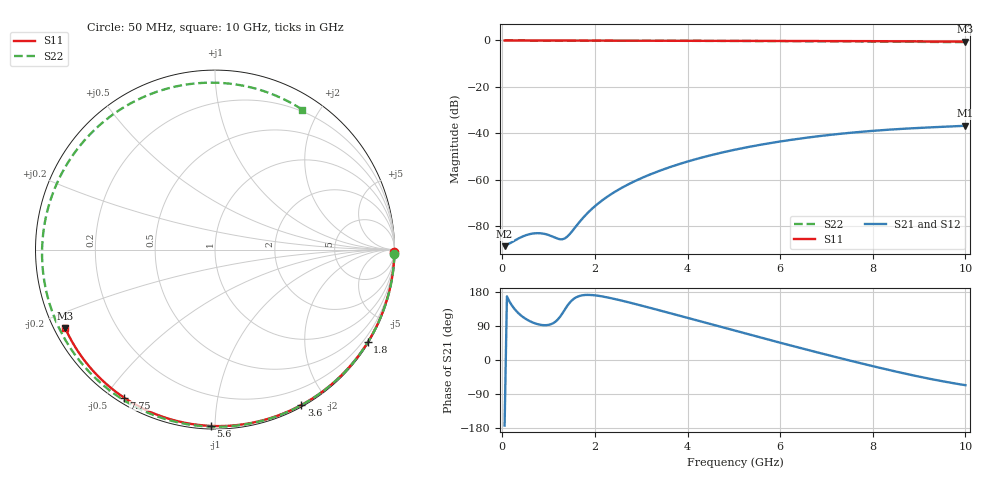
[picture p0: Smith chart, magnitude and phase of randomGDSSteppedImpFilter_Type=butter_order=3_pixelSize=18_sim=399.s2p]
! freq	dB(S11)	phase(S11)	dB(S12)	phase(S12)
!  dB(S21)	phase(S21)	dB(S22)	phase(S22)
!S-par simulation data
#  GHz  S  DB  R 50
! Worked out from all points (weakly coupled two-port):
!   200 points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, 50 MHz to 10 GHz, reference 50 ohm
!   highest |S21| = -36.73 dB at 10 GHz (marker M1); lowest = -88.6 dB at 50 MHz (marker M2)
!   lowest |S11| = -0.5 dB at 10 GHz (marker M3), VSWR 33.70, Z = 1.57 - j12.3 ohm
!   |S11| at or under -10 dB: nowhere
!   |S22| runs from -0.7 to 0.0 dB; largest |S21 - S12| = 0
!   S11 on the Smith chart (normalised r, x): 50 MHz: open; 1.8 GHz: 0.03, -3.57; 3.6 GHz: 0.02, -1.70; 5.6 GHz: 0.02, -0.98; 7.75 GHz: 0.02, -0.56; 10 GHz: 0.03, -0.25
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0.05  -0.00 -0.9  -88.56 -173.0  -88.56 -173.0  -0.00 -1.5
0.75  -0.02 -13.2  -82.96 95.1  -82.96 95.1  -0.02 -22.7
1.55  -0.03 -27.0  -81.05 162.0  -81.05 162.0  -0.06 -46.3
1.6  -0.04 -27.9  -79.78 165.7  -79.78 165.7  -0.06 -47.8
1.75  -0.04 -30.4  -76.21 171.1  -76.21 171.1  -0.07 -52.1
1.8  -0.04 -31.3  -75.13 171.7  -75.13 171.7  -0.07 -53.5
2.1  -0.05 -36.3  -69.71 169.0  -69.71 169.0  -0.08 -62.1
2.45  -0.05 -42.2  -64.93 160.4  -64.93 160.4  -0.09 -71.9
3.4  -0.08 -57.7  -56.08 130.9  -56.08 130.9  -0.13 -97.6
3.6  -0.08 -60.9  -54.66 124.3  -54.66 124.3  -0.13 -102.9
4.3  -0.10 -71.9  -50.45 101.3  -50.45 101.3  -0.17 -121.2
5.05  -0.13 -83.2  -46.92 76.5  -46.92 76.5  -0.21 -140.5
5.6  -0.15 -91.3  -44.81 58.5  -44.81 58.5  -0.25 -154.8
6.15  -0.18 -99.3  -43.04 40.8  -43.04 40.8  -0.29 -169.5
6.7  -0.21 -107.0  -41.54 23.4  -41.54 23.4  -0.34 175.2
7.25  -0.25 -114.7  -40.28 6.3  -40.28 6.3  -0.39 159.1
7.75  -0.28 -121.6  -39.32 -8.9  -39.32 -8.9  -0.45 143.4
8.35  -0.33 -129.7  -38.41 -26.3  -38.41 -26.3  -0.52 123.2
8.8  -0.38 -135.9  -37.86 -38.7  -37.86 -38.7  -0.58 106.7
9.2  -0.42 -141.3  -37.45 -48.9  -37.45 -48.9  -0.63 91.2
9.6  -0.47 -146.8  -37.09 -58.2  -37.09 -58.2  -0.68 74.9
10  -0.52 -152.3  -36.73 -66.4  -36.73 -66.4  -0.74 58.0
